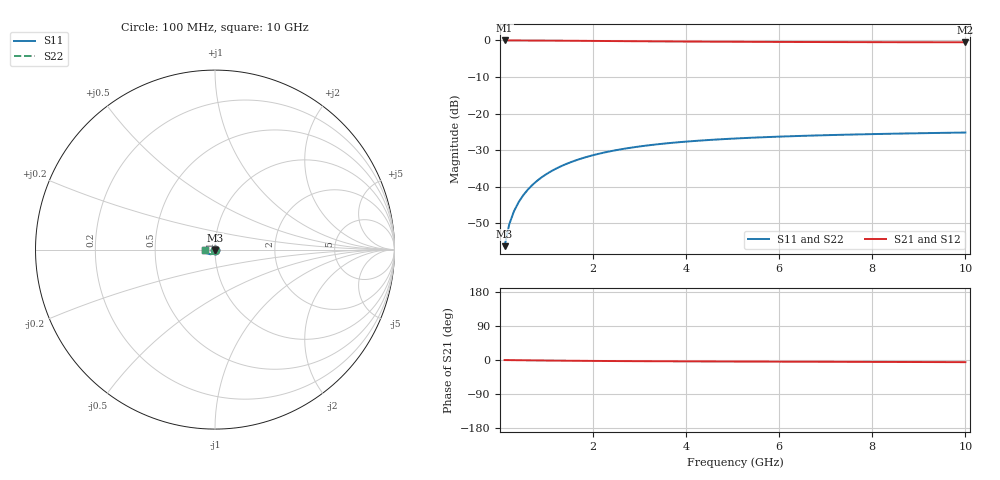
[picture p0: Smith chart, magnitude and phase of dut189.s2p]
! Touchstone file exported from HFSS 2024.1.0
!  File:  C:/UserFiles/LocalFiles/RDL_TSV_Batchsim/temp_TSV1_189_1779384830.aedt
!  Generated:  01:39:35 AM May 22, 2026
!  Design:  TSV1
!  Project:  temp_TSV1_189_1779384830
!  Setup:  Setup1
!  Solution:  Sweep
! Variables:
!  dtsv = 11.37um
!  hbump = 3um
!  htsv = 89.59um
!  lrdl = 252.1521522um
!  p = 40
!  p1 = 50.97um
!  t = 500um
!  trdl = 3um
!  wrdl = 24.89489489um
# GHz S MA R 50.000000
! Terminal data exported
! Port[1] = TSV22_T1
! Port[2] = TSV22_T2
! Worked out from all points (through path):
!   100 points, 100 MHz to 10 GHz, reference 50 ohm
!   highest |S21| = 0.00 dB at 100 MHz (marker M1); lowest = -0.5 dB at 10 GHz (marker M2)
!   lowest |S11| = -56.2 dB at 100 MHz (marker M3), VSWR 1.00, Z = 50 - j0.154 ohm
!   |S11| at or under -10 dB: start of sweep to end of sweep
!   |S22| runs from -56.2 to -25.2 dB; largest |S21 - S12| = 3.4e-15
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0.1  0.001545 -87.3  0.9998 -0.1  0.9998 -0.1  0.001545 -87.3
! Gamma 0 0 0 0
! Port Impedance 50 0 50 0
0.2  0.003083 -91.2  0.9997 -0.3  0.9997 -0.3  0.003083 -91.2
0.3  0.00462 -93.6  0.9994 -0.4  0.9994 -0.4  0.00462 -93.6
0.4  0.00615 -95.7  0.9991 -0.6  0.9991 -0.6  0.00615 -95.7
0.5  0.007669 -97.7  0.9986 -0.7  0.9986 -0.7  0.007669 -97.7
0.6  0.009172 -99.6  0.9981 -0.8  0.9981 -0.8  0.009172 -99.6
0.7  0.01065 -101.4  0.9975 -1.0  0.9975 -1.0  0.01065 -101.4
0.8  0.01211 -103.2  0.9969 -1.1  0.9969 -1.1  0.01211 -103.2
0.9  0.01354 -105.0  0.9961 -1.2  0.9961 -1.2  0.01354 -105.0
1.1  0.01631 -108.4  0.9945 -1.5  0.9945 -1.5  0.01631 -108.4
1.4  0.02022 -113.3  0.9917 -1.8  0.9917 -1.8  0.02022 -113.3
1.6  0.02264 -116.4  0.9897 -2.0  0.9897 -2.0  0.02264 -116.4
1.8  0.02491 -119.4  0.9876 -2.2  0.9876 -2.2  0.02491 -119.4
2.1  0.02804 -123.6  0.9844 -2.5  0.9844 -2.5  0.02804 -123.6
2.5  0.03172 -128.7  0.9801 -2.8  0.9801 -2.8  0.03172 -128.7
2.9  0.03488 -133.4  0.976 -3.0  0.976 -3.0  0.03488 -133.4
3.4  0.03821 -138.6  0.9714 -3.3  0.9714 -3.3  0.03821 -138.6
4.2  0.04239 -145.8  0.965 -3.7  0.965 -3.7  0.04238 -145.8
5.1  0.04587 -152.4  0.9593 -4.0  0.9593 -4.0  0.04587 -152.4
6.7  0.05013 -161.9  0.952 -4.6  0.952 -4.6  0.05013 -161.9
8.4  0.05312 -169.8  0.9469 -5.1  0.9469 -5.1  0.05312 -169.8
10  0.05517 -175.9  0.9436 -5.7  0.9436 -5.7  0.05517 -175.9
